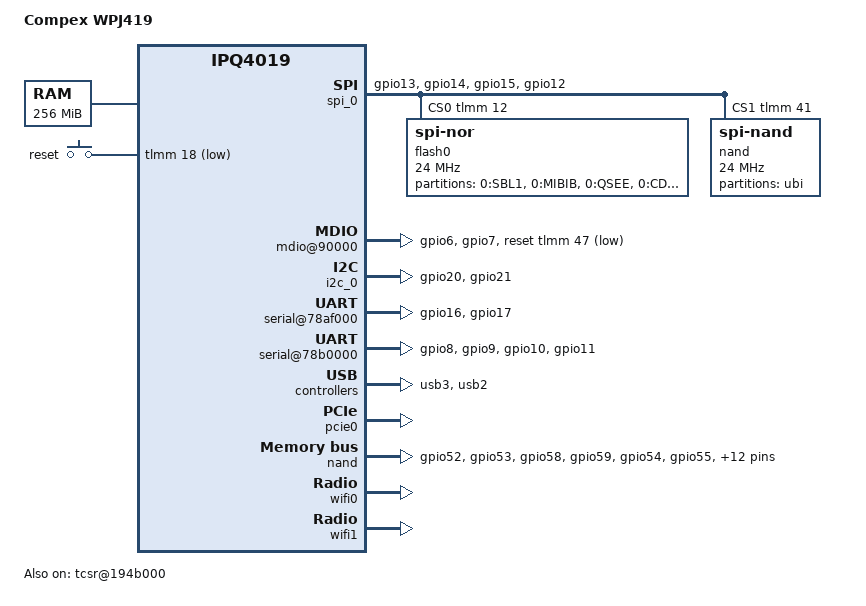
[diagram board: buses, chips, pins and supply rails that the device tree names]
/* Copyright (c) 2015, The Linux Foundation. All rights reserved.
 * Copyright (c) 2019, Nguyen Dinh Phi <phi_nguyen@compex.com.sg>
 *
 * Permission to use, copy, modify, and/or distribute this software for any
 * purpose with or without fee is hereby granted, provided that the above
 * copyright notice and this permission notice appear in all copies.
 *
 * THE SOFTWARE IS PROVIDED "AS IS" AND THE AUTHOR DISCLAIMS ALL WARRANTIES
 * WITH REGARD TO THIS SOFTWARE INCLUDING ALL IMPLIED WARRANTIES OF
 * MERCHANTABILITY AND FITNESS. IN NO EVENT SHALL THE AUTHOR BE LIABLE FOR
 * ANY SPECIAL, DIRECT, INDIRECT, OR CONSEQUENTIAL DAMAGES OR ANY DAMAGES
 * WHATSOEVER RESULTING FROM LOSS OF USE, DATA OR PROFITS, WHETHER IN AN
 * ACTION OF CONTRACT, NEGLIGENCE OR OTHER TORTIOUS ACTION, ARISING OUT OF
 * OR IN CONNECTION WITH THE USE OR PERFORMANCE OF THIS SOFTWARE.
 *
 */

#include "qcom-ipq4019.dtsi"
#include <dt-bindings/gpio/gpio.h>
#include <dt-bindings/input/input.h>
#include <dt-bindings/soc/qcom,tcsr.h>

/ {
	model = "Compex WPJ419";
	compatible = "compex,wpj419", "qcom,ipq4019";

	memory {
		device_type = "memory";
		reg = <0x80000000 0x10000000>;
	};

	reserved-memory {
		ranges;
		rsvd1@87000000 {
			/* Reserved for other subsystem */
			reg = <0x87000000 0x500000>;
			no-map;
		};
		wifi_dump@87500000 {
			reg = <0x87500000 0x600000>;
			no-map;
		};

		rsvd2@87B00000 {
			/* Reserved for other subsystem */
			reg = <0x87B00000 0x500000>;
			no-map;
		};
	};

	chosen {
		bootargs-append = " ubi.mtd=ubi root=/dev/ubiblock0_1";
	};

	soc {
		pinctrl@1000000 {
			mdio_pins: mdio_pinmux {
				mux_1 {
					pins = "gpio6";
					function = "mdio";
					bias-pull-up;
				};

				mux_2 {
					pins = "gpio7";
					function = "mdc";
					bias-pull-up;
				};
			};

			serial_0_pins: serial_pinmux {
				mux {
					pins = "gpio16", "gpio17";
					function = "blsp_uart0";
					bias-disable;
				};
			};

			serial_1_pins: serial1_pinmux {
				mux {
					pins = "gpio8", "gpio9", "gpio10", "gpio11";
					function = "blsp_uart1";
					bias-disable;
				};
			};

			spi_0_pins: spi_0_pinmux {
				pinmux {
					function = "blsp_spi0";
					pins = "gpio13", "gpio14", "gpio15";
					bias-disable;
				};

				pinmux_cs {
					function = "gpio";
					pins = "gpio12";
					bias-disable;
					output-high;
				};
			};

			i2c_0_pins: i2c_0_pinmux {
				mux {
					pins = "gpio20", "gpio21";
					function = "blsp_i2c0";
					bias-disable;
				};
			};

			nand_pins: nand_pins {
				pullups {
					pins = "gpio52", "gpio53", "gpio58", "gpio59";
					function = "qpic";
					bias-pull-up;
				};

				pulldowns {
					pins = "gpio54", "gpio55", "gpio56",
					"gpio57", "gpio60", "gpio61",
					"gpio62", "gpio63", "gpio64",
					"gpio65", "gpio66", "gpio67",
					"gpio68", "gpio69";
					function = "qpic";
					bias-pull-down;
				};
			};

			led_0_pins: led0_pinmux {
				mux_1 {
					pins = "gpio36";
					function = "led0";
					bias-pull-down;
				};
				mux_2 {
					pins = "gpio40";
					function = "led4";
					bias-pull-down;
				};
			};
		};

		blsp_dma: dma@7884000 {
			status = "okay";
		};

		spi_0: spi@78b5000 {
			pinctrl-0 = <&spi_0_pins>;
			pinctrl-names = "default";
			status = "okay";
			cs-gpios = <&tlmm 12 GPIO_ACTIVE_HIGH>, <&tlmm 41 GPIO_ACTIVE_HIGH>;
			num-cs = <2>;

			flash0@0 {
				reg = <0>;
				compatible = "jedec,spi-nor";
				spi-max-frequency = <24000000>;
				broken-flash-reset;

				partitions {
					compatible = "fixed-partitions";
					#address-cells = <1>;
					#size-cells = <1>;

					partition@0 {
						label = "0:SBL1";
						reg = <0x000000 0x040000>;
						read-only;
					};

					partition@40000 {
						label = "0:MIBIB";
						reg = <0x040000 0x020000>;
						read-only;
					};

					partition@60000 {
						label = "0:QSEE";
						reg = <0x060000 0x060000>;
						read-only;
					};

					partition@c0000 {
						label = "0:CDT";
						reg = <0x0c0000 0x010000>;
						read-only;
					};

					partition@d0000 {
						label = "0:DDRPARAMS";
						reg = <0x0d0000 0x010000>;
						read-only;
					};

					partition@e0000 {
						label = "u-boot-env";
						reg = <0x0e0000 0x010000>;
					};

					partition@f0000 {
						label = "u-boot";
						reg = <0x0f0000 0x080000>;
						read-only;
					};

					partition@170000 {
						label = "0:ART";
						reg = <0x170000 0x010000>;
						read-only;
						compatible = "nvmem-cells";
						#address-cells = <1>;
						#size-cells = <1>;

						precal_art_1000: precal@1000 {
							reg = <0x1000 0x2f20>;
						};

						precal_art_5000: precal@5000 {
							reg = <0x5000 0x2f20>;
						};
					};
				};
			};

			nand@1 {
				reg = <1>;
				status = "okay";
				compatible = "spi-nand";
				spi-max-frequency = <24000000>;

				partitions {
					compatible = "fixed-partitions";
					#address-cells = <1>;
					#size-cells = <1>;

					/* The device has 128MB, but we can only address
					 * 64MB because of the bootloader's default settings.
					 * This is due to the old mt29f driver,
					 * which detected the deivce with only 64MB
					 */
					partition@0 {
						label = "ubi";
						reg = <0x0000000 0x4000000>;
					};
				};
			};
		};

		mdio@90000 {
			status = "okay";
			pinctrl-0 = <&mdio_pins>;
			pinctrl-names = "default";
			reset-gpios = <&tlmm 47 GPIO_ACTIVE_LOW>;
			reset-delay-us = <5000>;
		};

		ess-psgmii@98000 {
			status = "okay";
		};

		tcsr@194b000 {
			/* select hostmode */
			compatible = "qcom,tcsr";
			reg = <0x194b000 0x100>;
			qcom,usb-hsphy-mode-select = <TCSR_USB_HSPHY_HOST_MODE>;
			status = "okay";
		};

		tcsr@1949000 {
			compatible = "qcom,tcsr";
			reg = <0x1949000 0x100>;
			qcom,wifi_glb_cfg = <TCSR_WIFI_GLB_CFG>;
		};

		ess_tcsr@1953000 {
			compatible = "qcom,tcsr";
			reg = <0x1953000 0x1000>;
			qcom,ess-interface-select = <TCSR_ESS_PSGMII>;
		};

		tcsr@1957000 {
			compatible = "qcom,tcsr";
			reg = <0x1957000 0x100>;
			qcom,wifi_noc_memtype_m0_m2 = <TCSR_WIFI_NOC_MEMTYPE_M0_M2>;
		};

		i2c_0: i2c@78b7000 {
			pinctrl-0 = <&i2c_0_pins>;
			pinctrl-names = "default";
			status = "okay";
		};

		serial@78af000 {
			pinctrl-0 = <&serial_0_pins>;
			pinctrl-names = "default";
			status = "okay";
		};

		serial@78b0000 {
			pinctrl-0 = <&serial_1_pins>;
			pinctrl-names = "default";
			status = "okay";
		};

		usb3_ss_phy: ssphy@9a000 {
			status = "okay";
		};

		usb3_hs_phy: hsphy@a6000 {
			status = "okay";
		};

		usb3: usb3@8af8800 {
			status = "okay";
		};

		usb2_hs_phy: hsphy@a8000 {
			status = "okay";
		};

		usb2: usb2@60f8800 {
			status = "okay";
		};

		cryptobam: dma@8e04000 {
			status = "okay";
		};

		crypto@8e3a000 {
			status = "okay";
		};

		watchdog@b017000 {
			status = "okay";
		};

		ess-switch@c000000 {
			switch_lan_bmp = <0x1e>;
			switch_wan_bmp = <0x20>;
			status = "okay";
		};

		edma@c080000 {
			status = "okay";
		};

		qpic_bam: dma@7984000 {
			status = "okay";
		};

		pcie0: pci@40000000 {
			status = "okay";
			perst-gpio = <&tlmm 38 GPIO_ACTIVE_LOW>;
			wake-gpio = <&tlmm 50 GPIO_ACTIVE_LOW>;
		};

		nand: qpic-nand@79b0000 {
			pinctrl-0 = <&nand_pins>;
			pinctrl-names = "default";
			status = "okay";
		};
	};

	keys {
		compatible = "gpio-keys";

		reset {
			label = "reset";
			gpios = <&tlmm 18 GPIO_ACTIVE_LOW>;
			linux,code = <KEY_RESTART>;
		};
	};
};

&gmac0 {
	qcom,phy_mdio_addr = <4>;
	qcom,poll_required = <1>;
	qcom,forced_speed = <1000>;
	qcom,forced_duplex = <1>;
	vlan_tag = <2 0x20>;
};

&gmac1 {
	qcom,phy_mdio_addr = <3>;
	qcom,poll_required = <1>;
	qcom,forced_speed = <1000>;
	qcom,forced_duplex = <1>;
	vlan_tag = <1 0x10>;
};

&wifi0 {
	status = "okay";
	nvmem-cell-names = "pre-calibration";
	nvmem-cells = <&precal_art_1000>;
};

&wifi1 {
	status = "okay";
	nvmem-cell-names = "pre-calibration";
	nvmem-cells = <&precal_art_5000>;
};
